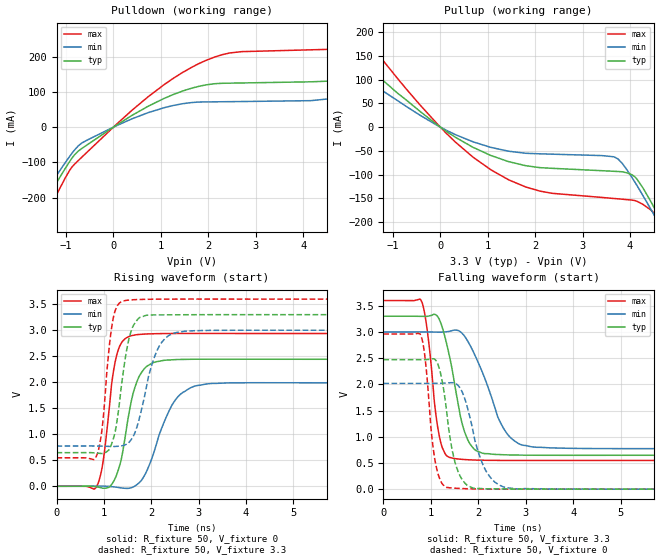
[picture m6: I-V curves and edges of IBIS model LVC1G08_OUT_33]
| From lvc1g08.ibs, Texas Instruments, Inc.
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[Model]   LVC1G08_OUT_33
Model_type  Output
Vref =   0.0
Rref =   500
Cref =   50p
Vmeas =   1.5
| variable   typ   min   max
C_comp   7.52pF   3.81pF   9.89pF
| C_pullup   7.16pF   3.81pF   8.86pF
| C_pulldown   7.88pF   5.18pF   9.89pF
[Temperature Range]   40   100   -40
| Ambient temperature   25   85   -40
[Voltage range]   3.3   3   3.6
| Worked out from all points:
|   slope of the pulldown table from 0 to 0.495 V, typ, clamps not added: 12 ohm
|   slope of the pullup table from 0 to 0.495 V, typ, clamps not added: 15.7 ohm
|   rising waveform, R_fixture 50, V_fixture 0: 20-80 % time 315ps typ, 503ps min, 228ps max; typ from 0 V to 2.44 V
|   rising waveform, R_fixture 50, V_fixture 3.3: 20-80 % time 250ps typ, 374ps min, 185ps max; typ from 0.647 V to 3.3 V
|   falling waveform, R_fixture 50, V_fixture 3.3: 20-80 % time 348ps typ, 567ps min, 219ps max; typ from 3.3 V to 0.647 V
|   falling waveform, R_fixture 50, V_fixture 0: 20-80 % time 259ps typ, 377ps min, 185ps max; typ from 2.47 V to 0 V
[Pulldown]
| LVC1G08_OUT_33
|   Voltage   I(typ)   I(min)   I(max)
-5V       -1.007A    -902.2mA   -1.174A
-2.465V   -446.6mA   -395.8mA   -527.8mA
-1.49V    -223.7mA   -195.8mA   -268.8mA
-565mV    -51.17mA   -37.44mA   -72.18mA
1.075V    81.9mA     55.37mA    121.2mA
2.295V    124.4mA    72.07mA    205.6mA
4.92V     138mA      89.62mA    223.6mA
6.94V     244.6mA    178mA      348.1mA
7.525V    286.9mA    86.57mA    405.3mA
7.92V     300mA      81.48mA    446.9mA
8.75V     157.6mA    82.47mA    508.5mA
10V       144.3mA    84.07mA    275.5mA
[Pullup]
| LVC1G08_OUT_33
|   Voltage   I(typ)   I(min)   I(max)
-5V       498.4mA    400.8mA    691mA
-3.33V    311.1mA    247mA      435.1mA
-2.555V   229.2mA    180.5mA    322.4mA
-1.88V    161.5mA    126mA      228.6mA
-70mV     5.134mA    3.851mA    7.467mA
1.065V    -59.73mA   -42.64mA   -89.86mA
2.1V      -85.39mA   -56.25mA   -134.8mA
3.66V     -93.08mA   -62.51mA   -150.4mA
4.145V    -109.4mA   -122.9mA   -156.2mA
4.63V     -192.2mA   -207.1mA   -202.9mA
4.77V     -218.8mA   -232.4mA   -230.8mA
10V       -1.305A    -1.242A    -1.439A
[Ramp]
| LVC1G08_OUT_33
| variable   typ   min   max
dV/dt_r   1.49/3.24E-10   1.22/5.27E-10   1.80/2.47E-10
dV/dt_f   1.61/3.63E-10   1.36/6.15E-10   1.85/2.26E-10
R_load = 50
[Rising Waveform]
| LVC1G08_OUT_33
R_fixture =   50
C_fixture =   0
L_fixture =   0
V_fixture =   0
V_fixture_min = 0
V_fixture_max = 0
|   Time   V(typ)   V(min)   V(max)
0s        -10.51uV   -27.32uV   -2.441uV
855ps     -11.27mV   3.247mV    10.14mV
990ps     -38.16mV   3.543mV    517.2mV
1.16ns    30.51mV    -7.267mV   1.939V
1.375ns   550.7mV    -32.03mV   2.764V
1.615ns   1.776V     -14.7mV    2.902V
1.855ns   2.262V     202.7mV    2.927V
2.51ns    2.436V     1.661V     2.939V
3.295ns   2.444V     1.978V     2.939V
50ns      2.442V     1.988V     2.938V
[Rising Waveform]
| LVC1G08_OUT_33
R_fixture =   50
C_fixture =   0
L_fixture =   0
V_fixture =   3.3
V_fixture_min = 3
V_fixture_max = 3.6
|   Time   V(typ)   V(min)   V(max)
0s        646.7mV    774.3mV    548mV
840ps     638.5mV    774.4mV    575mV
960ps     630mV      772.6mV    1.087V
1.11ns    705.1mV    766.7mV    2.65V
1.265ns   1.184V     767.5mV    3.44V
1.45ns    2.45V      797.7mV    3.572V
1.58ns    2.995V     901.2mV    3.586V
2.175ns   3.296V     2.704V     3.599V
2.91ns    3.3V       2.992V     3.601V
50ns      3.3V       3V         3.6V
[Falling Waveform]
| LVC1G08_OUT_33
R_fixture =   50
C_fixture =   0
L_fixture =   0
V_fixture =   3.3
V_fixture_min = 3
V_fixture_max = 3.6
|   Time   V(typ)   V(min)   V(max)
0s        3.3V       3V         3.6V
810ps     3.298V     3V         3.572V
935ps     3.3V       2.999V     2.957V
1.145ns   3.292V     2.997V     1.182V
1.325ns   2.807V     3.003V     646mV
1.71ns    1.099V     2.921V     564.9mV
1.96ns    732.7mV    2.497V     554.7mV
2.565ns   655.4mV    1.114V     548.1mV
3.225ns   647.1mV    798.8mV    547.6mV
50ns      646.7mV    774.4mV    548mV
[Falling Waveform]
| LVC1G08_OUT_33
R_fixture =   50
C_fixture =   0
L_fixture =   0
V_fixture =   0
V_fixture_min = 0
V_fixture_max = 0
|   Time   V(typ)   V(min)   V(max)
0s        2.471V     2.018V     2.961V
785ps     2.471V     2.018V     2.942V
880ps     2.472V     2.018V     2.493V
1.11ns    2.451V     2.019V     446.6mV
1.245ns   2.039V     2.022V     96.69mV
1.48ns    621.1mV    2.03V      19.34mV
1.74ns    94.6mV     1.658V     8.545mV
2.175ns   6.497mV    328.5mV    1.477mV
2.81ns    1.663mV    5.583mV    -128.4uV
50ns      -4.748uV   -21.32uV   4.31uV
